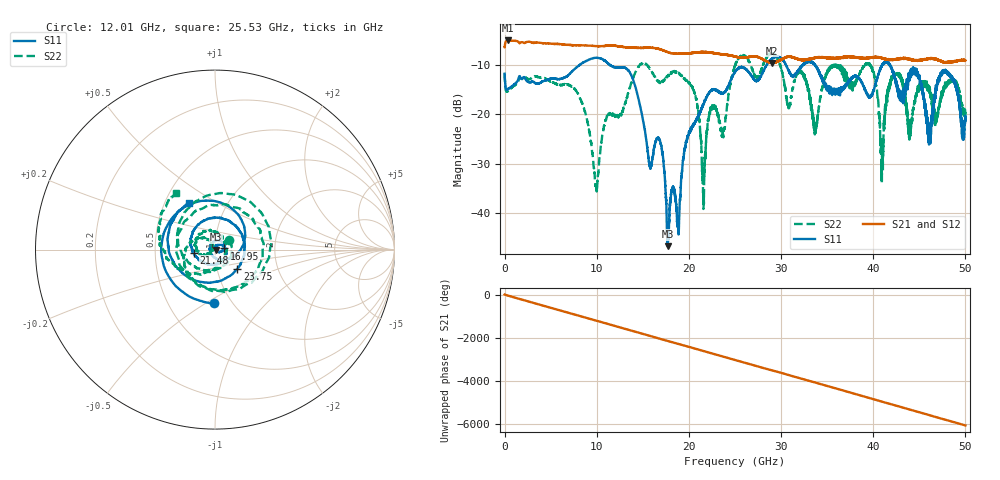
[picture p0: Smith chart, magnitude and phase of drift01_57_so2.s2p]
!Created with skrf (http://scikit-rf.org).
# Hz S RI R 50.0
!freq ReS11 ImS11 ReS21 ImS21 ReS12 ImS12 ReS22 ImS22
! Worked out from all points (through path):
!   10001 points, 300 kHz to 50 GHz, reference 50 ohm
!   highest |S21| = -5.05 dB at 390.3 MHz (marker M1); lowest = -9.6 dB at 28.98 GHz (marker M2)
!   group delay of S21, straight-line fit = 336 ps
!   lowest |S11| = -46.7 dB at 17.69 GHz (marker M3), VSWR 1.01, Z = 50.5 - j0.0729 ohm
!   |S11| at or under -10 dB: start of sweep to 8.15 GHz; 11.43 GHz to 28.42 GHz (16.99 GHz wide, 85.3 % of centre); 41.82 GHz to end of sweep (the widest 3 of 13)
!   |S22| runs from -39.1 to -7.6 dB; largest |S21 - S12| = 0.013
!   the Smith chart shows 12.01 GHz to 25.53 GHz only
!   S11 on the Smith chart (normalised r, x): 12.01 GHz: 0.83, -0.54; 16.95 GHz: 1.10, +0.01; 21.48 GHz: 0.79, -0.03; 23.75 GHz: 1.25, -0.28; 25.53 GHz: 0.66, +0.38
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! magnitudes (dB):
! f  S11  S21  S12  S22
! 300 kHz  -11.8  -6.4  -6.5  -11.7
! 390.3 MHz  -14.8  -5.0  -5.1  -15.2
! 8.335 GHz  -9.7  -6.0  -6.0  -17.5
! 9.945 GHz  -8.6  -6.2  -6.2  -34.7
! 12.01 GHz  -10.5  -6.1  -6.2  -20.5
! 15.78 GHz  -30.6  -6.5  -6.5  -10.7
! 16.67 GHz  -24.7  -6.7  -6.7  -13.3
! 16.95 GHz  -26.0  -6.9  -6.9  -13.4
! 17.69 GHz  -46.7  -7.4  -7.4  -12.3
! 20.5 GHz  -22.0  -7.6  -7.6  -15.0
! 21.48 GHz  -18.4  -7.4  -7.4  -31.7
! 22.46 GHz  -15.1  -7.5  -7.5  -18.9
! 23.75 GHz  -15.7  -7.9  -7.9  -24.3
! 25 GHz  -11.4  -8.3  -8.3  -10.2
! 25.53 GHz  -10.5  -8.5  -8.5  -8.4
! 28.98 GHz  -8.8  -9.6  -9.6  -7.7
! 33.34 GHz  -9.5  -8.7  -8.7  -19.2
! 39.49 GHz  -16.3  -8.6  -8.5  -9.8
! 40.97 GHz  -10.0  -8.6  -8.6  -28.2
! 41.67 GHz  -9.6  -8.8  -9.0  -14.9
! 48.01 GHz  -11.6  -9.5  -9.5  -13.9
! 50 GHz  -20.7  -9.1  -9.0  -20.3
